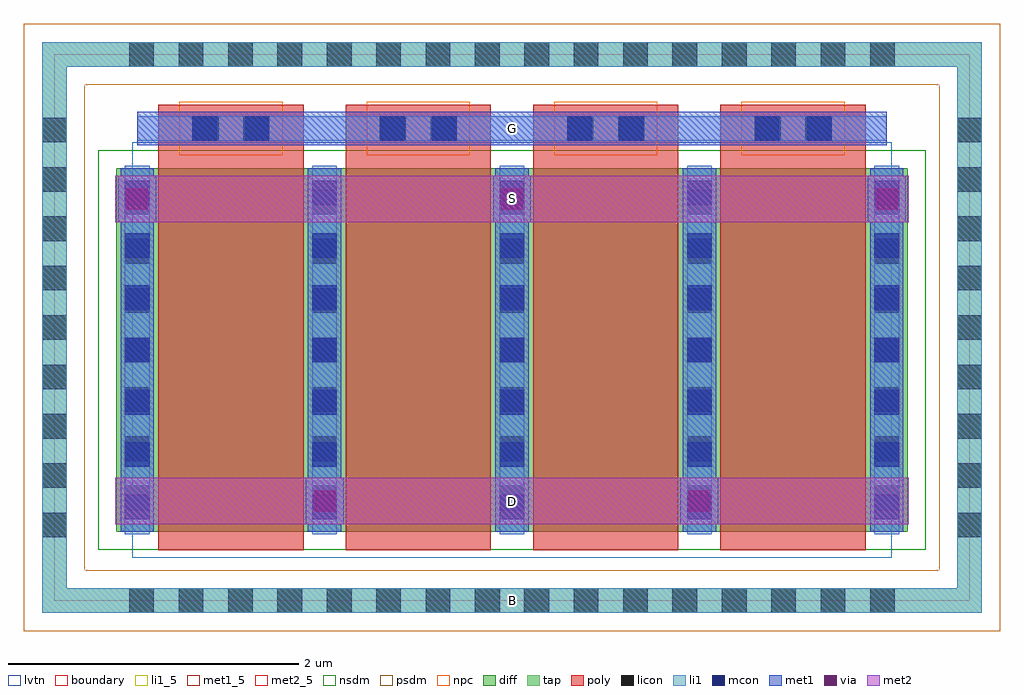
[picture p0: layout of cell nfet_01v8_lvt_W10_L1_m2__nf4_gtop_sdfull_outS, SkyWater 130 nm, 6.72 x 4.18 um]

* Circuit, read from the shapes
.subckt nfet_01v8_lvt_W10_L1_m2__nf4_gtop_sdfull_outS B D G S
XM1 D G S B sky130_fd_pr__nfet_01v8_lvt w=2.5 l=1 m=4
.ends

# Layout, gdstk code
import gdstk
lib = gdstk.Library(unit=1e-6, precision=1e-09)
def R(c, l, rs):  # rectangles x0, y0, x1, y1
    for r in rs: c.add(gdstk.rectangle(r[:2], r[2:], *l))
def A(c, l, x, y, w, h, nx, ny, dx, dy):  # array of equal rectangles
    R(c, l, [(x+i*dx, y+j*dy, x+i*dx+w, y+j*dy+h) for i in range(nx) for j in range(ny)])
diff = (65, 20)
tap = (65, 44)
poly = (66, 20)
licon = (66, 44)
li1_5 = (67, 5)
li1 = (67, 20)
mcon = (67, 44)
met1_5 = (68, 5)
met1 = (68, 20)
via = (68, 44)
met2_5 = (69, 5)
met2 = (69, 20)
nsdm = (93, 44)
psdm = (94, 20)
npc = (95, 20)
lvtn = (125, 44)
boundary = (235, 4)

sky130_fd_pr__nfet_01v8_ = lib.new_cell('sky130_fd_pr__nfet_01v8_lvt_547GNQ')
R(sky130_fd_pr__nfet_01v8_, diff, [(-2.725,-1.405,2.725,1.095)])
R(sky130_fd_pr__nfet_01v8_, tap, [(-3.235,-1.965,3.235,-1.795), (-3.235,-1.795,-3.065,1.795), (3.065,-1.795,3.235,1.795), (-3.235,1.795,3.235,1.965)])
A(sky130_fd_pr__nfet_01v8_, poly, -2.435, -1.535, 1, 3.07, 4, 1, 1.29, 0)
A(sky130_fd_pr__nfet_01v8_, licon, -2.635, -1.965, 0.17, 0.17, 16, 2, 0.34, 3.76)
A(sky130_fd_pr__nfet_01v8_, licon, -3.235, -1.445, 0.17, 0.17, 1, 9, 0, 0.34)
A(sky130_fd_pr__nfet_01v8_, licon, 3.065, -1.445, 0.17, 0.17, 1, 9, 0, 0.34)
A(sky130_fd_pr__nfet_01v8_, licon, -2.665, -1.26, 0.17, 0.17, 5, 7, 1.29, 0.34)
R(sky130_fd_pr__nfet_01v8_, licon, [(-2.19,1.285,-2.02,1.455), (-1.85,1.285,-1.68,1.455), (-0.9,1.285,-0.73,1.455), (-0.56,1.285,-0.39,1.455), (0.39,1.285,0.56,1.455), (0.73,1.285,0.9,1.455), (1.68,1.285,1.85,1.455), (2.02,1.285,2.19,1.455)])
A(sky130_fd_pr__nfet_01v8_, li1, -2.665, -1.425, 0.17, 2.54, 5, 1, 1.29, 0)
R(sky130_fd_pr__nfet_01v8_, li1, [(-3.235,-1.965,3.235,-1.795), (-3.235,-1.795,-3.065,1.795), (3.065,-1.795,3.235,1.795), (-2.58,1.285,2.58,1.455), (-3.235,1.795,3.235,1.965)])
A(sky130_fd_pr__nfet_01v8_, mcon, -2.665, -1.32, 0.17, 0.17, 5, 7, 1.29, 0.36)
R(sky130_fd_pr__nfet_01v8_, mcon, [(-2.2,1.285,-2.03,1.455), (-1.84,1.285,-1.67,1.455), (-0.91,1.285,-0.74,1.455), (-0.55,1.285,-0.38,1.455), (0.38,1.285,0.55,1.455), (0.74,1.285,0.91,1.455), (1.67,1.285,1.84,1.455), (2.03,1.285,2.2,1.455)])
A(sky130_fd_pr__nfet_01v8_, met1, -2.695, -1.405, 0.23, 2.5, 5, 1, 1.29, 0)
A(sky130_fd_pr__nfet_01v8_, met1, -2.415, 1.255, 0.96, 0.03, 4, 2, 1.29, 0.2)
R(sky130_fd_pr__nfet_01v8_, met1, [(-2.58,1.285,2.58,1.455)])
R(sky130_fd_pr__nfet_01v8_, nsdm, [(-2.85,-1.53,2.85,1.22)])
R(sky130_fd_pr__nfet_01v8_, psdm, [(-3.36,-2.09,3.36,-1.67), (-3.36,-1.67,-2.94,1.67), (2.94,-1.67,3.36,1.67), (-3.36,1.67,3.36,2.09)])
A(sky130_fd_pr__nfet_01v8_, npc, -2.29, 1.185, 0.71, 0.37, 4, 1, 1.29, 0)
R(sky130_fd_pr__nfet_01v8_, lvtn, [(-2.615,-1.585,2.615,1.275)])
R(sky130_fd_pr__nfet_01v8_, boundary, [(-3.15,-1.88,3.15,1.88)])
sky130_fd_pr__nfet_01v8_.add(gdstk.Label('B', (0,-1.88), layer=67, texttype=5))
sky130_fd_pr__nfet_01v8_.add(gdstk.Label('D0', (-2.58,-0.155), layer=67, texttype=5))
sky130_fd_pr__nfet_01v8_.add(gdstk.Label('G', (1.935,1.37), layer=67, texttype=5))
sky130_fd_pr__nfet_01v8_.add(gdstk.Label('G', (0.645,1.37), layer=67, texttype=5))
sky130_fd_pr__nfet_01v8_.add(gdstk.Label('G', (-0.645,1.37), layer=67, texttype=5))
sky130_fd_pr__nfet_01v8_.add(gdstk.Label('G', (-1.935,1.37), layer=67, texttype=5))
sky130_fd_pr__nfet_01v8_.add(gdstk.Label('S1', (-1.29,-0.155), layer=67, texttype=5))
sky130_fd_pr__nfet_01v8_.add(gdstk.Label('D2', (0,-0.155), layer=67, texttype=5))
sky130_fd_pr__nfet_01v8_.add(gdstk.Label('S3', (1.29,-0.155), layer=67, texttype=5))

nfet_01v8_lvt_w10_l1_m2_ = lib.new_cell('nfet_01v8_lvt_W10_L1_m2__nf4_gtop_sdfull_outS')
R(nfet_01v8_lvt_w10_l1_m2_, li1_5, [(3.065,-0.085,3.235,0.085)])
R(nfet_01v8_lvt_w10_l1_m2_, li1, [(3.065,-0.085,3.235,0.085)])
R(nfet_01v8_lvt_w10_l1_m2_, met1_5, [(0.57,3.135,5.73,3.365)])
A(nfet_01v8_lvt_w10_l1_m2_, met1, 0.44, 2.605, 0.26, 0.32, 3, 1, 2.58, 0)
R(nfet_01v8_lvt_w10_l1_m2_, met1, [(1.73,0.525,1.99,0.845), (4.31,0.525,4.57,0.845), (0.57,3.135,5.73,3.365)])
A(nfet_01v8_lvt_w10_l1_m2_, via, 0.495, 2.69, 0.15, 0.15, 3, 1, 2.58, 0)
R(nfet_01v8_lvt_w10_l1_m2_, via, [(1.785,0.61,1.935,0.76), (4.365,0.61,4.515,0.76)])
R(nfet_01v8_lvt_w10_l1_m2_, met2_5, [(0.42,0.525,5.88,0.845), (0.435,0.525,5.865,0.845), (0.42,2.605,5.88,2.925), (0.435,2.605,5.865,2.925)])
R(nfet_01v8_lvt_w10_l1_m2_, met2, [(0.42,0.525,5.88,0.845), (0.42,2.605,5.88,2.925)])
nfet_01v8_lvt_w10_l1_m2_.add(gdstk.Reference(sky130_fd_pr__nfet_01v8_, (3.15,1.88)))
nfet_01v8_lvt_w10_l1_m2_.add(gdstk.Label('S', (3.15,2.765), layer=69, texttype=5))
nfet_01v8_lvt_w10_l1_m2_.add(gdstk.Label('D', (3.15,0.685), layer=69, texttype=5))
nfet_01v8_lvt_w10_l1_m2_.add(gdstk.Label('S', (3.15,2.765), layer=69, texttype=5))
nfet_01v8_lvt_w10_l1_m2_.add(gdstk.Label('D', (3.15,0.685), layer=69, texttype=5))
nfet_01v8_lvt_w10_l1_m2_.add(gdstk.Label('G', (3.15,3.25), layer=68, texttype=5))
nfet_01v8_lvt_w10_l1_m2_.add(gdstk.Label('B', (3.15,0), layer=67, texttype=5))

lib.write_gds('nfet_01v8_lvt_W10_L1_m2__nf4_gtop_sdfull_outS.gds')
